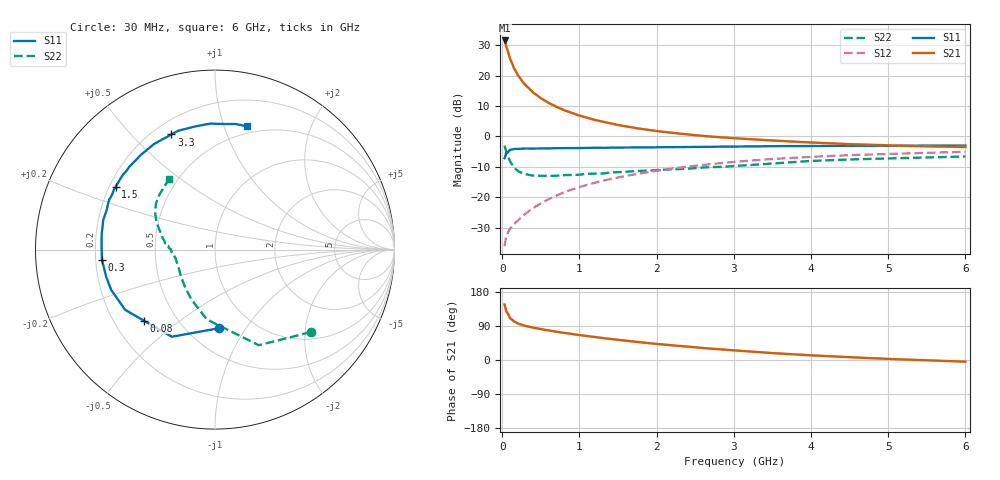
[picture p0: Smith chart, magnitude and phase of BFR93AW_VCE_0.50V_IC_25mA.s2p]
! (c) 2015  Infineon Technologies AG, Munich
! Infineon Technologies  Discrete & RF Semiconductors
! BFR93AW
! VCE = 0.50 V,  IC =  25 mA
! Common Emitter S-Parameters:  Nov 2015
# GHz  S  MA  R  50
!  f  S11  S21  S12  S22
! GHz  MAG  ANG  MAG  ANG  MAG  ANG  MAG  ANG
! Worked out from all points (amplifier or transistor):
!   206 points, 30 MHz to 6 GHz, reference 50 ohm
!   highest |S21| = 31.6 dB at 30 MHz (marker M1)
!   |S21| within 3 dB of that: start of sweep to 65.36 MHz
!   unconditionally stable (mu >= 1): 318.9 MHz to end of sweep
!   at 200 MHz: K = 0.86, MSG = 24.0 dB, |S12| = -27.7 dB
!   at 1.56 GHz: K = 1.12, MAG = 6.2 dB, |S12| = -13.2 dB
!   at 6 GHz: K = 1.03, MAG = -0.2 dB, |S12| = -5.0 dB
!   S11 on the Smith chart (normalised r, x): 30 MHz: 0.70, -0.76; 80 MHz: 0.33, -0.38; 300 MHz: 0.23, -0.04; 1.5 GHz: 0.23, +0.28; 3.3 GHz: 0.27, +0.66; 6 GHz: 0.43, +1.20
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0.03  0.4386 -87.2  38.06 146.4  0.0156 61.7  0.7035 -40.8
0.05  0.5416 -116.3  30.76 128.6  0.0226 54.2  0.5858 -65.4
0.08  0.5601 -135.1  23.47 119.7  0.0271 50.8  0.4518 -81.1
0.1  0.6029 -146.2  19.12 110.2  0.0302 49.1  0.3915 -96.7
0.15  0.6205 -158.8  13.41 101.9  0.0354 51.1  0.3096 -114.6
0.2  0.6249 -165.9  10.34 96.5  0.041 54.8  0.2718 -127.0
0.24  0.6261 -170.1  8.729 93.8  0.0459 56.7  0.2543 -134.2
0.26  0.6279 -171.9  8.062 92.4  0.0483 57.7  0.2482 -137.5
0.3  0.6329 -174.6  6.996 89.9  0.0532 59.7  0.2396 -142.7
0.4  0.6317 179.7  5.283 85.2  0.066 62.9  0.2264 -152.9
0.5  0.6341 175.2  4.252 81.3  0.079 64.6  0.2247 -159.8
0.6  0.6373 172.0  3.568 77.9  0.0925 65.6  0.2237 -164.4
0.8  0.644 165.2  2.709 71.5  0.1198 65.8  0.231 -171.3
1.04  0.6449 158.5  2.131 64.8  0.1518 64.5  0.2378 -176.2
1.2  0.6518 154.5  1.869 60.7  0.1725 63.2  0.2443 -178.6
1.5  0.6549 147.6  1.543 53.3  0.2115 60.5  0.2579 177.7
2.02  0.664 135.7  1.218 42.1  0.274 54.7  0.2808 172.5
3.1  0.681 114.2  0.919 24.0  0.3894 41.6  0.3311 160.0
3.3  0.6858 110.7  0.887 21.2  0.4073 39.1  0.3446 157.4
4.1  0.6957 97.8  0.785 11.3  0.4676 29.3  0.3995 146.5
5.1  0.7022 85.0  0.707 2.1  0.5196 18.6  0.4374 134.3
6  0.7094 75.5  0.671 -4.4  0.5601 10.3  0.4675 123.0
